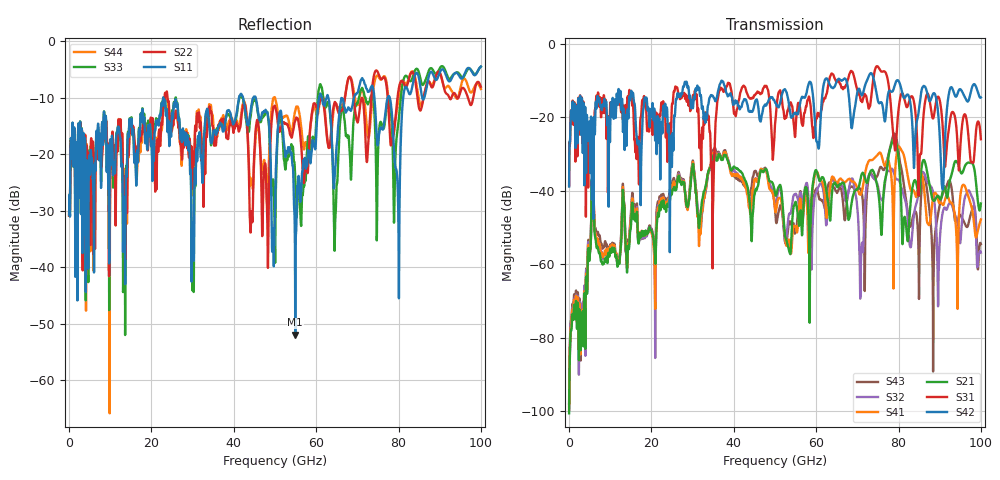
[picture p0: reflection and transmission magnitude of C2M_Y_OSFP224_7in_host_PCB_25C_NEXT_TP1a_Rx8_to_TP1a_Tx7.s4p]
# GHz S RI R 45
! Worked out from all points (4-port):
!   4000 points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, 25 MHz to 100 GHz, reference 45 ohm
!   strongest paths, dB at 25 MHz, 25.02 GHz, 50.02 GHz, 75.03 GHz, 100 GHz:
!     S42: -38.8, -30.3, -16.0, -15.6, -14.6
!     S31: -38.5, -16.3, -21.8, -6.2, -26.0
!     S21: -100.6, -40.3, -40.7, -39.9, -43.5
!     S41: -99.6, -38.6, -45.0, -30.1, -47.8
!     S32: -98.8, -39.2, -43.7, -38.9, -56.9
!     S43: -98.0, -37.6, -45.2, -35.5, -54.5
!   lowest |S11| = -51.9 dB at 54.92 GHz (marker M1), VSWR 1.01, Z = 45.2 - j0.0457 ohm
!   |S11| at or under -10 dB: start of sweep to 22.89 GHz; 22.91 GHz to 41.28 GHz (18.37 GHz wide, 57.2 % of centre); 45.31 GHz to 60.76 GHz (15.46 GHz wide, 29.1 % of centre) (the widest 3 of 9)
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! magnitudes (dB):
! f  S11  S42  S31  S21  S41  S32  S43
! 25 MHz  -30.6  -38.8  -38.5  -100.6  -99.6  -98.8  -98.0
! 5.85 GHz  -24.9  -23.9  -30.8  -36.8  -36.5  -36.6  -36.3
! 54.92 GHz  -51.9  -18.7  -25.1  -43.2  -49.6  -40.8  -51.3
! 79 GHz  -20.6  -11.6  -27.6  -25.5  -39.8  -35.7  -24.4
! 82.1 GHz  -8.4  -13.8  -17.2  -52.8  -35.1  -45.9  -44.5
! 90.67 GHz  -5.0  -39.5  -21.7  -40.4  -43.7  -46.2  -41.1
! 100 GHz  -4.5  -14.6  -26.0  -43.5  -47.8  -56.9  -54.5
